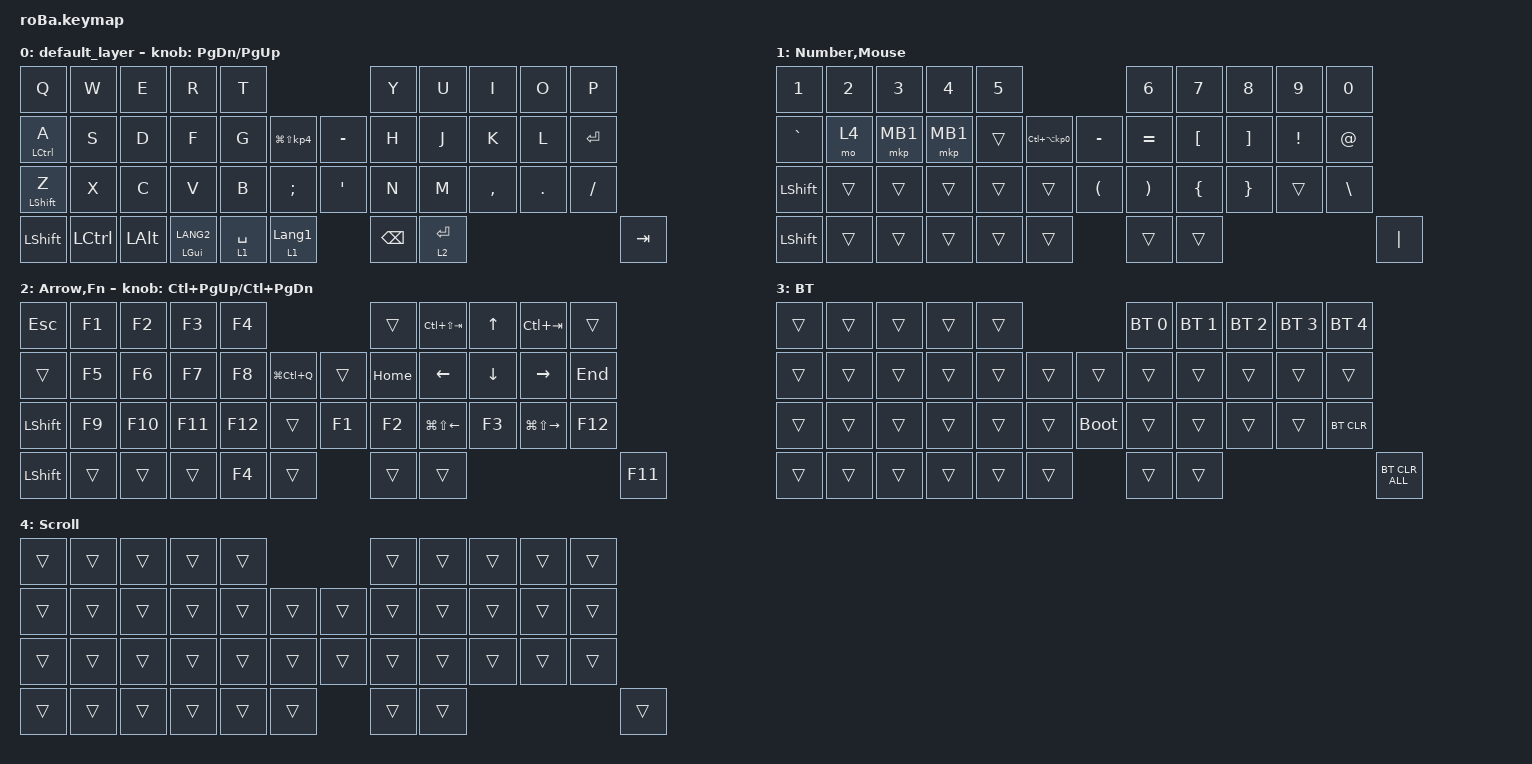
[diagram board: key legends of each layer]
#include <behaviors.dtsi>
#include <dt-bindings/zmk/bt.h>
#include <dt-bindings/zmk/keys.h>
#include <dt-bindings/zmk/pointing.h>

&mt {
    flavor = "balanced";
    quick-tap-ms = <0>;
};

/ {
    combos {
        compatible = "zmk,combos";

        tab {
            bindings = <&kp TAB>;
            key-positions = <12 13>;
            layers = <0>;
        };

        double_quotation {
            bindings = <&kp DOUBLE_QUOTES>;
            key-positions = <20 21>;
            layers = <0>;
        };

        bikkuri {
            bindings = <&kp EXCLAMATION>;
            key-positions = <18 19>;
            layers = <0>;
        };

        MouseButton2 {
            bindings = <&mkp MB2>;
            key-positions = <13 12>;
            layers = <1>;
        };

        Atmark {
            bindings = <&kp AT_SIGN>;
            key-positions = <20 19>;
            layers = <0>;
        };

        MouseButton1 {
            bindings = <&mkp MB1>;
            key-positions = <18 20 19>;
            layers = <0>;
        };
    };

    macros {
        to_layer_0: to_layer_0 {
            compatible = "zmk,behavior-macro-one-param";
            #binding-cells = <1>;
            bindings = <&to 0 &macro_param_1to1 &kp MACRO_PLACEHOLDER>;
            label = "TO_LAYER_0";
        };
    };

    behaviors {
        cmd_eisu: cmd_eisu {
            compatible = "zmk,behavior-hold-tap";
            label = "COMMAND_EISU";
            bindings = <&kp>, <&kp>;

            #binding-cells = <2>;
            flavor = "hold-preferred";
            tapping-term-ms = <200>;
            quick-tap-ms = <0>;
            hold-while-undecided;
        };

        fast_lt: fast_layer_tap {
            compatible = "zmk,behavior-hold-tap";
            label = "FAST_LAYER_TAP";
            bindings = <&mo>, <&kp>;

            #binding-cells = <2>;
            flavor = "hold-preferred";
            tapping-term-ms = <200>;
            quick-tap-ms = <0>;
            hold-while-undecided;
        };

        lt_to_layer_0: lt_to_layer_0 {
            compatible = "zmk,behavior-hold-tap";
            label = "LAYER_TAP_TO_0";
            bindings = <&mo>, <&to_layer_0>;

            #binding-cells = <2>;
            tapping-term-ms = <200>;
        };
    };

    keymap {
        compatible = "zmk,keymap";

        default_layer {
            bindings = <
&kp Q               &kp W             &kp E         &kp R               &kp T                                                     &kp Y         &kp U  &kp I      &kp O    &kp P
&mt LEFT_CONTROL A  &kp S             &kp D         &kp F               &kp G        &kp LG(LS(KP_NUMBER_4))      &kp MINUS       &kp H         &kp J  &kp K      &kp L    &kp ENTER
&mt LEFT_SHIFT Z    &kp X             &kp C         &kp V               &kp B        &kp SEMICOLON                &kp APOSTROPHE  &kp N         &kp M  &kp COMMA  &kp DOT  &kp SLASH
&kp LEFT_SHIFT      &kp LEFT_CONTROL  &kp LEFT_ALT  &cmd_eisu LEFT_GUI LANG2  &fast_lt 1 SPACE  &fast_lt 1 LANGUAGE_1             &kp BACKSPACE   &fast_lt 2 RETURN                             &kp TAB
            >;

            sensor-bindings = <&inc_dec_kp PAGE_DOWN PAGE_UP>;
        };

        Number,Mouse {
            bindings = <
&kp NUMBER_1    &kp NUMBER_2  &kp NUMBER_3  &kp NUMBER_4  &kp NUMBER_5                                                     &kp NUMBER_6           &kp NUMBER_7      &kp NUMBER_8       &kp NUMBER_9     &kp NUMBER_0
&kp GRAVE       &mo 4         &mkp MB1      &mkp MB1      &trans        &kp LC(LA(KP_NUMBER_0))      &kp MINUS             &kp EQUAL              &kp LEFT_BRACKET  &kp RIGHT_BRACKET  &kp EXCLAMATION  &kp AT_SIGN
&kp LEFT_SHIFT  &trans        &trans        &trans        &trans        &trans                       &kp LEFT_PARENTHESIS  &kp RIGHT_PARENTHESIS  &kp LEFT_BRACE    &kp RIGHT_BRACE    &trans           &kp BACKSLASH
&kp LEFT_SHIFT  &trans        &trans        &trans        &trans        &trans                       &trans                &trans                                                                       &kp PIPE
            >;
        };

        Arrow,Fn {
            bindings = <
&kp ESCAPE      &kp F1  &kp F2   &kp F3   &kp F4                              &trans    &kp LC(LS(TAB))         &kp UP_ARROW    &kp LC(TAB)              &trans
&trans          &kp F5  &kp F6   &kp F7   &kp F8   &kp LG(LC(Q))      &trans  &kp HOME  &kp LEFT_ARROW          &kp DOWN_ARROW  &kp RIGHT_ARROW          &kp END
&kp LEFT_SHIFT  &kp F9  &kp F10  &kp F11  &kp F12  &trans             &kp F1  &kp F2    &kp LG(LS(LEFT_ARROW))  &kp F3          &kp LG(LS(RIGHT_ARROW))  &kp F12
&kp LEFT_SHIFT  &trans  &trans   &trans   &kp F4   &trans             &trans  &trans                                                                     &kp F11
            >;

            sensor-bindings = <&inc_dec_kp LC(PAGE_UP) LC(PAGE_DOWN)>;
        };

        BT {
            bindings = <
&trans  &trans  &trans  &trans  &trans                           &bt BT_SEL 0  &bt BT_SEL 1  &bt BT_SEL 2  &bt BT_SEL 3  &bt BT_SEL 4
&trans  &trans  &trans  &trans  &trans  &trans      &trans       &trans        &trans        &trans        &trans        &trans
&trans  &trans  &trans  &trans  &trans  &trans      &bootloader  &trans        &trans        &trans        &trans        &bt BT_CLR
&trans  &trans  &trans  &trans  &trans  &trans      &trans       &trans                                                  &bt BT_CLR_ALL
            >;
        };

        Scroll {
            bindings = <
&trans  &trans  &trans  &trans  &trans                      &trans  &trans  &trans  &trans  &trans
&trans  &trans  &trans  &trans  &trans  &trans      &trans  &trans  &trans  &trans  &trans  &trans
&trans  &trans  &trans  &trans  &trans  &trans      &trans  &trans  &trans  &trans  &trans  &trans
&trans  &trans  &trans  &trans  &trans  &trans      &trans  &trans                          &trans
            >;
        };
    };
};
